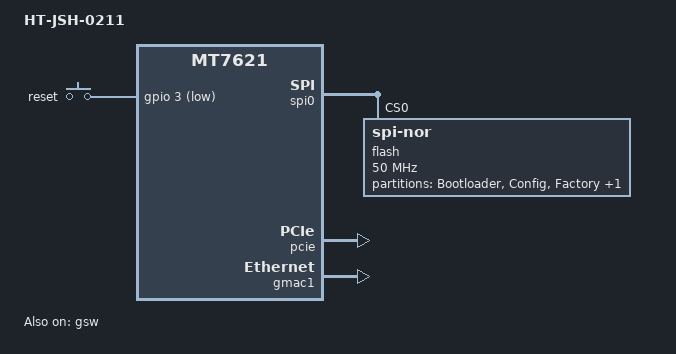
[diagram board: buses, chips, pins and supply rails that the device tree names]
// SPDX-License-Identifier: GPL-2.0-only

#include "mt7621.dtsi"

#include <dt-bindings/gpio/gpio.h>
#include <dt-bindings/input/input.h>

/ {
	compatible = "ht-jsh,0211", "mediatek,mt7621-soc";
	model = "HT-JSH-0211";

	keys {
		compatible = "gpio-keys";

		reset {
			label = "reset";
			gpios = <&gpio 3 GPIO_ACTIVE_LOW>;
			linux,code = <KEY_RESTART>;
		};
	};
};

&spi0 {
	status = "okay";

	flash@0 {
		compatible = "jedec,spi-nor";
		reg = <0>;
		spi-max-frequency = <50000000>;

		partitions {
			compatible = "fixed-partitions";
			#address-cells = <1>;
			#size-cells = <1>;

			partition@0 {
				label = "Bootloader";
				reg = <0x0 0x30000>;
				read-only;
			};

			partition@30000 {
				label = "Config";
				reg = <0x30000 0x10000>;
				read-only;
			};

			factory: partition@40000 {
				label = "Factory";
				reg = <0x40000 0x10000>;
				read-only;
			};

			partition@50000 {
				compatible = "denx,uimage";
				label = "firmware";
				reg = <0x50000 0xfb0000>;
			};
		};
	};
};

&pcie {
	status = "okay";
};

&pcie0 {
	mt76@0,0 {
		reg = <0x0000 0 0 0 0>;
		mediatek,mtd-eeprom = <&factory 0x0>;
	};
};

&gmac0 {
	mtd-mac-address = <&factory 0xe000>;
};

&gmac1 {
	mtd-mac-address = <&factory 0xe006>;
	status = "okay";
};

&gsw {
	mediatek,portmap = "wllll";
	status = "okay";
};

&hnat {
	mtketh-wan = "eth1";
	mtketh-ppd = "eth0";
	mtketh-lan = "eth0";
	mtketh-max-gmac = <2>;
	/delete-property/ mtkdsa-wan-port;
};

&switch0 {
	status = "disabled";
};

&state_default {
	gpio {
		groups = "i2c";
		function = "gpio";
	};
};
